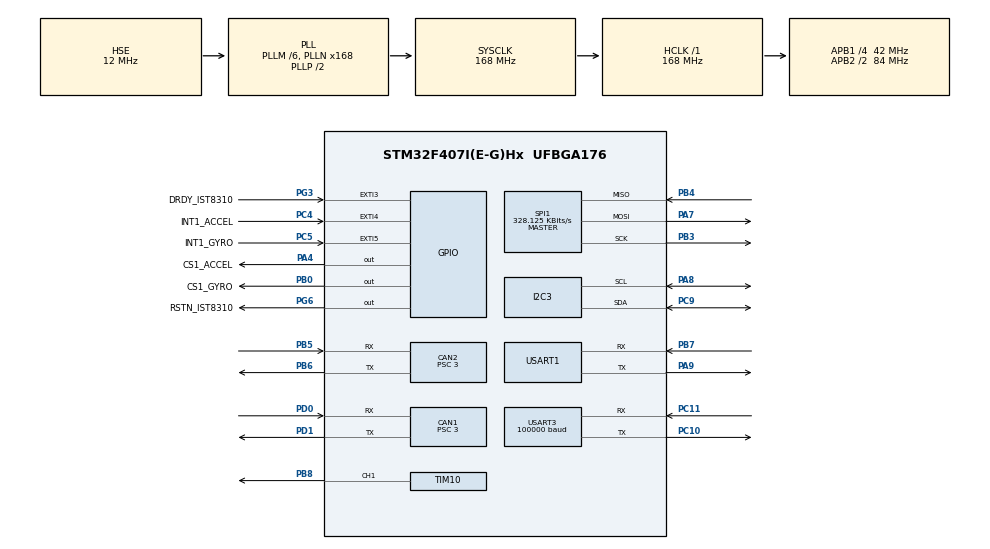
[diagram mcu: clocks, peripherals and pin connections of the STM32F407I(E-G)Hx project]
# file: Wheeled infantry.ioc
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CAN1.BS1=CAN_BS1_10TQ
CAN1.BS2=CAN_BS2_3TQ
CAN1.CalculateBaudRate=1000000
CAN1.CalculateTimeBit=1000
CAN1.CalculateTimeQuantum=71.42857142857143
CAN1.Prescaler=3
CAN2.BS1=CAN_BS1_10TQ
CAN2.BS2=CAN_BS2_3TQ
CAN2.CalculateBaudRate=1000000
CAN2.CalculateTimeBit=1000
CAN2.CalculateTimeQuantum=71.42857142857143
CAN2.Prescaler=3
Dma.I2C3_RX.1.Direction=DMA_PERIPH_TO_MEMORY
Dma.I2C3_RX.1.FIFOMode=DMA_FIFOMODE_DISABLE
Dma.I2C3_RX.1.Instance=DMA1_Stream2
Dma.I2C3_RX.1.MemDataAlignment=DMA_MDATAALIGN_BYTE
Dma.I2C3_RX.1.MemInc=DMA_MINC_ENABLE
Dma.I2C3_RX.1.Mode=DMA_NORMAL
Dma.I2C3_RX.1.PeriphDataAlignment=DMA_PDATAALIGN_BYTE
Dma.I2C3_RX.1.PeriphInc=DMA_PINC_DISABLE
Dma.I2C3_RX.1.Priority=DMA_PRIORITY_VERY_HIGH
Dma.I2C3_TX.2.Direction=DMA_MEMORY_TO_PERIPH
Dma.I2C3_TX.2.FIFOMode=DMA_FIFOMODE_DISABLE
Dma.I2C3_TX.2.Instance=DMA1_Stream4
Dma.I2C3_TX.2.MemDataAlignment=DMA_MDATAALIGN_BYTE
Dma.I2C3_TX.2.MemInc=DMA_MINC_ENABLE
Dma.I2C3_TX.2.Mode=DMA_NORMAL
Dma.I2C3_TX.2.PeriphDataAlignment=DMA_PDATAALIGN_BYTE
Dma.I2C3_TX.2.PeriphInc=DMA_PINC_DISABLE
Dma.I2C3_TX.2.Priority=DMA_PRIORITY_HIGH
Dma.Request0=USART3_RX
Dma.Request1=I2C3_RX
Dma.Request2=I2C3_TX
Dma.Request3=SPI1_RX
Dma.Request4=SPI1_TX
Dma.Request5=USART1_RX
Dma.SPI1_RX.3.Direction=DMA_PERIPH_TO_MEMORY
Dma.SPI1_RX.3.FIFOMode=DMA_FIFOMODE_DISABLE
Dma.SPI1_RX.3.Instance=DMA2_Stream0
Dma.SPI1_RX.3.MemDataAlignment=DMA_MDATAALIGN_BYTE
Dma.SPI1_RX.3.MemInc=DMA_MINC_ENABLE
Dma.SPI1_RX.3.Mode=DMA_NORMAL
Dma.SPI1_RX.3.PeriphDataAlignment=DMA_PDATAALIGN_BYTE
Dma.SPI1_RX.3.PeriphInc=DMA_PINC_DISABLE
Dma.SPI1_RX.3.Priority=DMA_PRIORITY_VERY_HIGH
Dma.SPI1_TX.4.Direction=DMA_MEMORY_TO_PERIPH
Dma.SPI1_TX.4.FIFOMode=DMA_FIFOMODE_DISABLE
Dma.SPI1_TX.4.Instance=DMA2_Stream3
Dma.SPI1_TX.4.MemDataAlignment=DMA_MDATAALIGN_BYTE
Dma.SPI1_TX.4.MemInc=DMA_MINC_ENABLE
Dma.SPI1_TX.4.Mode=DMA_NORMAL
Dma.SPI1_TX.4.PeriphDataAlignment=DMA_PDATAALIGN_BYTE
Dma.SPI1_TX.4.PeriphInc=DMA_PINC_DISABLE
Dma.SPI1_TX.4.Priority=DMA_PRIORITY_HIGH
Dma.USART1_RX.5.Direction=DMA_PERIPH_TO_MEMORY
Dma.USART1_RX.5.FIFOMode=DMA_FIFOMODE_DISABLE
Dma.USART1_RX.5.Instance=DMA2_Stream2
Dma.USART1_RX.5.MemDataAlignment=DMA_MDATAALIGN_BYTE
Dma.USART1_RX.5.MemInc=DMA_MINC_ENABLE
Dma.USART1_RX.5.Mode=DMA_NORMAL
Dma.USART1_RX.5.PeriphDataAlignment=DMA_PDATAALIGN_BYTE
Dma.USART1_RX.5.PeriphInc=DMA_PINC_DISABLE
Dma.USART1_RX.5.Priority=DMA_PRIORITY_VERY_HIGH
Dma.USART3_RX.0.Direction=DMA_PERIPH_TO_MEMORY
Dma.USART3_RX.0.FIFOMode=DMA_FIFOMODE_DISABLE
Dma.USART3_RX.0.Instance=DMA1_Stream1
Dma.USART3_RX.0.MemDataAlignment=DMA_MDATAALIGN_BYTE
Dma.USART3_RX.0.MemInc=DMA_MINC_ENABLE
Dma.USART3_RX.0.Mode=DMA_NORMAL
Dma.USART3_RX.0.PeriphDataAlignment=DMA_PDATAALIGN_BYTE
Dma.USART3_RX.0.PeriphInc=DMA_PINC_DISABLE
Dma.USART3_RX.0.Priority=DMA_PRIORITY_HIGH
FREERTOS.INCLUDE_eTaskGetState=1
FREERTOS.INCLUDE_pcTaskGetTaskName=1
FREERTOS.INCLUDE_uxTaskGetStackHighWaterMark=1
FREERTOS.INCLUDE_vTaskCleanUpResources=1
FREERTOS.INCLUDE_vTaskDelayUntil=1
FREERTOS.INCLUDE_xQueueGetMutexHolder=1
FREERTOS.INCLUDE_xSemaphoreGetMutexHolder=1
FREERTOS.INCLUDE_xTaskAbortDelay=1
FREERTOS.INCLUDE_xTaskGetCurrentTaskHandle=1
FREERTOS.INCLUDE_xTaskGetHandle=1
FREERTOS.Tasks01=defaultTask,0,128,StartDefaultTask,Default,NULL,Dynamic,NULL,NULL;INS_Task,1,1024,StartINSTask,Default,NULL,Dynamic,NULL,NULL;Chassis,0,256,Chassis_Task,As weak,NULL,Dynamic,NULL,NULL;Gimbal,0,256,Gimbal_Task,As weak,NULL,Dynamic,NULL,NULL;Shoot,0,256,Shoot_Task,As weak,NULL,Dynamic,NULL,NULL
FREERTOS.configTOTAL_HEAP_SIZE=24576
FREERTOS.configUSE_TIMERS=1
I2C3.I2C_Mode=I2C_Fast
Mcu.Family=STM32F4
Mcu.Name=STM32F407I(E-G)Hx
Mcu.Package=UFBGA176
NVIC.CAN1_RX0_IRQn=true\:5\:0\:false\:false\:true\:true\:true\:true\:true
NVIC.CAN2_RX1_IRQn=true\:5\:0\:false\:false\:true\:true\:true\:true\:true
NVIC.DMA1_Stream1_IRQn=true\:5\:0\:false\:false\:true\:true\:false\:true\:true
NVIC.DMA1_Stream2_IRQn=true\:5\:0\:false\:false\:true\:true\:false\:true\:true
NVIC.DMA1_Stream4_IRQn=true\:5\:0\:false\:false\:true\:true\:false\:true\:true
NVIC.DMA2_Stream0_IRQn=true\:5\:0\:false\:false\:true\:true\:false\:true\:true
NVIC.DMA2_Stream2_IRQn=true\:5\:0\:false\:false\:true\:true\:false\:true\:true
NVIC.DMA2_Stream3_IRQn=true\:5\:0\:false\:false\:true\:true\:false\:true\:true
NVIC.PriorityGroup=NVIC_PRIORITYGROUP_4
NVIC.TIM2_IRQn=true\:15\:0\:false\:false\:true\:false\:false\:true\:true
NVIC.TimeBase=TIM2_IRQn
NVIC.TimeBaseIP=TIM2
NVIC.USART1_IRQn=true\:5\:0\:false\:false\:true\:true\:true\:true\:true
NVIC.USART3_IRQn=true\:5\:0\:false\:false\:true\:true\:true\:true\:true
PA13.Mode=Serial_Wire
PA13.Signal=SYS_JTMS-SWDIO
PA14.Mode=Serial_Wire
PA14.Signal=SYS_JTCK-SWCLK
PA4.GPIO_Label=CS1_ACCEL
PA4.GPIO_PuPd=GPIO_PULLUP
PA4.GPIO_Speed=GPIO_SPEED_FREQ_HIGH
PA4.PinState=GPIO_PIN_SET
PA4.Signal=GPIO_Output
PA7.Mode=Full_Duplex_Master
PA7.Signal=SPI1_MOSI
PA8.Mode=I2C
PA8.Signal=I2C3_SCL
PA9.Mode=Asynchronous
PA9.Signal=USART1_TX
PB0.GPIO_Label=CS1_GYRO
PB0.GPIO_PuPd=GPIO_PULLUP
PB0.GPIO_Speed=GPIO_SPEED_FREQ_HIGH
PB0.PinState=GPIO_PIN_SET
PB0.Signal=GPIO_Output
PB3.Mode=Full_Duplex_Master
PB3.Signal=SPI1_SCK
PB4.Mode=Full_Duplex_Master
PB4.Signal=SPI1_MISO
PB5.Mode=CAN_Activate
PB5.Signal=CAN2_RX
PB6.Mode=CAN_Activate
PB6.Signal=CAN2_TX
PB7.Mode=Asynchronous
PB7.Signal=USART1_RX
PB8.Signal=S_TIM10_CH1
PC10.Mode=Asynchronous
PC10.Signal=USART3_TX
PC11.Mode=Asynchronous
PC11.Signal=USART3_RX
PC14-OSC32_IN.Mode=LSE-External-Oscillator
PC14-OSC32_IN.Signal=RCC_OSC32_IN
PC15-OSC32_OUT.Mode=LSE-External-Oscillator
PC15-OSC32_OUT.Signal=RCC_OSC32_OUT
PC4.GPIO_Label=INT1_ACCEL
PC4.GPIO_PuPd=GPIO_PULLUP
PC4.Signal=GPXTI4
PC5.GPIO_Label=INT1_GYRO
PC5.GPIO_PuPd=GPIO_PULLUP
PC5.Signal=GPXTI5
PC9.Mode=I2C
PC9.Signal=I2C3_SDA
PD0.Mode=CAN_Activate
PD0.Signal=CAN1_RX
PD1.Mode=CAN_Activate
PD1.Signal=CAN1_TX
PG3.GPIO_Label=DRDY_IST8310
PG3.GPIO_ModeDefaultEXTI=GPIO_MODE_IT_FALLING
PG3.GPIO_PuPd=GPIO_PULLUP
PG3.Signal=GPXTI3
PG6.GPIO_Label=RSTN_IST8310
PG6.GPIO_PuPd=GPIO_PULLUP
PG6.GPIO_Speed=GPIO_SPEED_FREQ_MEDIUM
PG6.PinState=GPIO_PIN_SET
PG6.Signal=GPIO_Output
PH0-OSC_IN.Mode=HSE-External-Oscillator
PH0-OSC_IN.Signal=RCC_OSC_IN
PH1-OSC_OUT.Mode=HSE-External-Oscillator
PH1-OSC_OUT.Signal=RCC_OSC_OUT
ProjectManager.HeapSize=0x4000
ProjectManager.StackSize=0x4000
ProjectManager.TargetToolchain=MDK-ARM V5
RCC.48MHZClocksFreq_Value=84000000
RCC.AHBFreq_Value=168000000
RCC.APB1CLKDivider=RCC_HCLK_DIV4
RCC.APB1Freq_Value=42000000
RCC.APB1TimFreq_Value=84000000
RCC.APB2CLKDivider=RCC_HCLK_DIV2
RCC.APB2Freq_Value=84000000
RCC.APB2TimFreq_Value=168000000
RCC.CortexFreq_Value=168000000
RCC.HCLKFreq_Value=168000000
RCC.HSE_VALUE=12000000
RCC.HSI_VALUE=16000000
RCC.PLLM=6
RCC.PLLN=168
RCC.PLLSourceVirtual=RCC_PLLSOURCE_HSE
RCC.SYSCLKFreq_VALUE=168000000
RCC.SYSCLKSource=RCC_SYSCLKSOURCE_PLLCLK
RCC.VCOOutputFreq_Value=336000000
SH.S_TIM10_CH1.0=TIM10_CH1,PWM Generation1 CH1
SPI1.BaudRatePrescaler=SPI_BAUDRATEPRESCALER_256
SPI1.CLKPhase=SPI_PHASE_2EDGE
SPI1.CLKPolarity=SPI_POLARITY_HIGH
SPI1.CalculateBaudRate=328.125 KBits/s
SPI1.Direction=SPI_DIRECTION_2LINES
SPI1.Mode=SPI_MODE_MASTER
SPI1.VirtualType=VM_MASTER
STMicroelectronics.X-CUBE-ALGOBUILD.1.4.0.LibraryCcDSPOoLibraryJjDSPOoLibrary=true
TIM10.Channel=TIM_CHANNEL_1
USART1.VirtualMode=VM_ASYNC
USART3.BaudRate=100000
USART3.Parity=PARITY_EVEN
USART3.VirtualMode=VM_ASYNC
VP_FREERTOS_VS_CMSIS_V1.Mode=CMSIS_V1
VP_STMicroelectronics.X-CUBE-ALGOBUILD_VS_DSPOoLibraryJjLibrary_1.4.0_1.4.0.Mode=DSPOoLibraryJjLibrary
VP_SYS_VS_tim2.Mode=TIM2
VP_TIM10_VS_ClockSourceINT.Mode=Enable_Timer
board=custom

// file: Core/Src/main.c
/* USER CODE BEGIN Header */
/**
  ******************************************************************************
  * @file           : main.c
  * @brief          : Main program body
  ******************************************************************************
  * @attention
  *
  * Copyright (c) 2025 STMicroelectronics.
  * All rights reserved.
  *
  * This software is licensed under terms that can be found in the LICENSE file
  * in the root directory of this software component.
  * If no LICENSE file comes with this software, it is provided AS-IS.
  *
  ******************************************************************************
  */
/* USER CODE END Header */
#include "main.h"
#include "cmsis_os.h"
#include "can.h"
#include "dma.h"
#include "i2c.h"
#include "spi.h"
#include "tim.h"
#include "usart.h"
#include "gpio.h"

/* USER CODE BEGIN Includes */
#include "ins_task.h"
#include "bsp_can.h"
#include "bsp_rc.h"
#include "bsp_dwt.h"
#include "CAN_receive.h"
#include "M3508_Driver.h"
#include "M2006_Driver.h"
#include "M6020_Driver.h"
#include "BMI088driver.h"
#include "remote_control.h"
#include "GimbalControl.h"
#include "Shoot_Control.h"
#include "Chassis_Control.h"
#include "Power_distribution.h"
#include "hipnuc_imu_task.h"
/* USER CODE END Includes */

void SystemClock_Config(void);
void MX_FREERTOS_Init(void);

int main(void)
{

  /* MCU Configuration--------------------------------------------------------*/

  /* Reset of all peripherals, Initializes the Flash interface and the Systick. */
  HAL_Init();

  /* Configure the system clock */
  SystemClock_Config();

  /* Initialize all configured peripherals */
  MX_GPIO_Init();
  MX_DMA_Init();
  MX_CAN1_Init();
  MX_CAN2_Init();
  MX_USART3_UART_Init();
  MX_I2C3_Init();
  MX_SPI1_Init();
  MX_TIM10_Init();
  MX_USART1_UART_Init();
  /* USER CODE BEGIN 2 */
    can_filter_init();
    remote_control_init();
    INS_Init();
    Chassis_Init();
    Gimbal_Init();
    Shoot_Init();
    DWT_Init(168);																//BMI088��ʹ�ã�RTOS��
    while (BMI088_init(&hspi1, 1) != BMI088_NO_ERROR);
    hipnuc_Init();
  /* USER CODE END 2 */

  /* Call init function for freertos objects (in freertos.c) */
  MX_FREERTOS_Init();

  /* Start scheduler */
  osKernelStart();

  /* We should never get here as control is now taken by the scheduler */
  /* Infinite loop */
  while (1)
  {

  }
}

void SystemClock_Config(void)
{
  RCC_OscInitTypeDef RCC_OscInitStruct = {0};
  RCC_ClkInitTypeDef RCC_ClkInitStruct = {0};

  /** Configure the main internal regulator output voltage
  */
  __HAL_RCC_PWR_CLK_ENABLE();
  __HAL_PWR_VOLTAGESCALING_CONFIG(PWR_REGULATOR_VOLTAGE_SCALE1);

  /** Initializes the RCC Oscillators according to the specified parameters
  * in the RCC_OscInitTypeDef structure.
  */
  RCC_OscInitStruct.OscillatorType = RCC_OSCILLATORTYPE_HSE;
  RCC_OscInitStruct.HSEState = RCC_HSE_ON;
  RCC_OscInitStruct.PLL.PLLState = RCC_PLL_ON;
  RCC_OscInitStruct.PLL.PLLSource = RCC_PLLSOURCE_HSE;
  RCC_OscInitStruct.PLL.PLLM = 6;
  RCC_OscInitStruct.PLL.PLLN = 168;
  RCC_OscInitStruct.PLL.PLLP = RCC_PLLP_DIV2;
  RCC_OscInitStruct.PLL.PLLQ = 4;
  if (HAL_RCC_OscConfig(&RCC_OscInitStruct) != HAL_OK)
  {
    Error_Handler();
  }

  /** Initializes the CPU, AHB and APB buses clocks
  */
  RCC_ClkInitStruct.ClockType = RCC_CLOCKTYPE_HCLK|RCC_CLOCKTYPE_SYSCLK
                              |RCC_CLOCKTYPE_PCLK1|RCC_CLOCKTYPE_PCLK2;
  RCC_ClkInitStruct.SYSCLKSource = RCC_SYSCLKSOURCE_PLLCLK;
  RCC_ClkInitStruct.AHBCLKDivider = RCC_SYSCLK_DIV1;
  RCC_ClkInitStruct.APB1CLKDivider = RCC_HCLK_DIV4;
  RCC_ClkInitStruct.APB2CLKDivider = RCC_HCLK_DIV2;

  if (HAL_RCC_ClockConfig(&RCC_ClkInitStruct, FLASH_LATENCY_5) != HAL_OK)
  {
    Error_Handler();
  }
}

void HAL_TIM_PeriodElapsedCallback(TIM_HandleTypeDef *htim)
{
  if (htim->Instance == TIM2) {
    HAL_IncTick();
  }
}

void Error_Handler(void)
{
  __disable_irq();
  while (1)
  {
  }
}

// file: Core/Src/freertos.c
/* USER CODE BEGIN Header */
/**
  ******************************************************************************
  * File Name          : freertos.c
  * Description        : Code for freertos applications
  ******************************************************************************
  * @attention
  *
  * Copyright (c) 2025 STMicroelectronics.
  * All rights reserved.
  *
  * This software is licensed under terms that can be found in the LICENSE file
  * in the root directory of this software component.
  * If no LICENSE file comes with this software, it is provided AS-IS.
  *
  ******************************************************************************
  */
/* USER CODE END Header */

#include "FreeRTOS.h"
#include "task.h"
#include "main.h"
#include "cmsis_os.h"

/* USER CODE BEGIN Includes */
#include "ins_task.h"
#include "bsp_can.h"
#include "bsp_rc.h"
#include "bsp_dwt.h"
#include "CAN_receive.h"
#include "M3508_Driver.h"
#include "M2006_Driver.h"
#include "M6020_Driver.h"
#include "BMI088driver.h"
#include "remote_control.h"
#include "GimbalControl.h"
#include "Chassis_Control.h"
#include "Shoot_Control.h"
#include "All_Task.h"
/* USER CODE END Includes */

osThreadId defaultTaskHandle;
osThreadId INS_TaskHandle;
osThreadId ChassisHandle;
osThreadId GimbalHandle;
osThreadId ShootHandle;

void StartDefaultTask(void const * argument);
void StartINSTask(void const * argument);
void Chassis_Task(void const * argument);
void Gimbal_Task(void const * argument);
void Shoot_Task(void const * argument);

void MX_FREERTOS_Init(void); /* (MISRA C 2004 rule 8.1) */

/* GetIdleTaskMemory prototype (linked to static allocation support) */
void vApplicationGetIdleTaskMemory( StaticTask_t **ppxIdleTaskTCBBuffer, StackType_t **ppxIdleTaskStackBuffer, uint32_t *pulIdleTaskStackSize );

/* GetTimerTaskMemory prototype (linked to static allocation support) */
void vApplicationGetTimerTaskMemory( StaticTask_t **ppxTimerTaskTCBBuffer, StackType_t **ppxTimerTaskStackBuffer, uint32_t *pulTimerTaskStackSize );

/* USER CODE BEGIN GET_IDLE_TASK_MEMORY */
static StaticTask_t xIdleTaskTCBBuffer;
static StackType_t xIdleStack[configMINIMAL_STACK_SIZE];

void vApplicationGetIdleTaskMemory( StaticTask_t **ppxIdleTaskTCBBuffer, StackType_t **ppxIdleTaskStackBuffer, uint32_t *pulIdleTaskStackSize )
{
  *ppxIdleTaskTCBBuffer = &xIdleTaskTCBBuffer;
  *ppxIdleTaskStackBuffer = &xIdleStack[0];
  *pulIdleTaskStackSize = configMINIMAL_STACK_SIZE;
  /* place for user code */
}
/* USER CODE END GET_IDLE_TASK_MEMORY */

/* USER CODE BEGIN GET_TIMER_TASK_MEMORY */
static StaticTask_t xTimerTaskTCBBuffer;
static StackType_t xTimerStack[configTIMER_TASK_STACK_DEPTH];

void vApplicationGetTimerTaskMemory( StaticTask_t **ppxTimerTaskTCBBuffer, StackType_t **ppxTimerTaskStackBuffer, uint32_t *pulTimerTaskStackSize )
{
  *ppxTimerTaskTCBBuffer = &xTimerTaskTCBBuffer;
  *ppxTimerTaskStackBuffer = &xTimerStack[0];
  *pulTimerTaskStackSize = configTIMER_TASK_STACK_DEPTH;
  /* place for user code */
}
/* USER CODE END GET_TIMER_TASK_MEMORY */

void MX_FREERTOS_Init(void) {

  /* Create the thread(s) */
  /* definition and creation of defaultTask */
  osThreadDef(defaultTask, StartDefaultTask, osPriorityNormal, 0, 128);
  defaultTaskHandle = osThreadCreate(osThread(defaultTask), NULL);

  /* definition and creation of INS_Task */
  osThreadDef(INS_Task, StartINSTask, osPriorityAboveNormal, 0, 512);
  INS_TaskHandle = osThreadCreate(osThread(INS_Task), NULL);

  /* definition and creation of Chassis */
  osThreadDef(Chassis, Chassis_Task, osPriorityNormal, 0, 256);
  ChassisHandle = osThreadCreate(osThread(Chassis), NULL);

  /* definition and creation of Gimbal */
  osThreadDef(Gimbal, Gimbal_Task, osPriorityNormal, 0, 256);
  GimbalHandle = osThreadCreate(osThread(Gimbal), NULL);

  /* definition and creation of Shoot */
  osThreadDef(Shoot, Shoot_Task, osPriorityNormal, 0, 256);
  ShootHandle = osThreadCreate(osThread(Shoot), NULL);

}

void StartDefaultTask(void const * argument)
{
  for(;;)
  {
      osDelay(1);
  }
}

void StartINSTask(void const * argument)
{
  /* USER CODE BEGIN StartINSTask */
  /* Infinite loop */
  for(;;)
  {
     INS_Task();
     osDelay(1);
  }
  /* USER CODE END StartINSTask */
}

__weak void Chassis_Task(void const * argument)
{
  for(;;)
  {
      osDelay(1);
  }
}

__weak void Gimbal_Task(void const * argument)
{
  for(;;)
  {
    osDelay(1);
  }
}

__weak void Shoot_Task(void const * argument)
{
  for(;;)
  {
    osDelay(1);
  }
}
